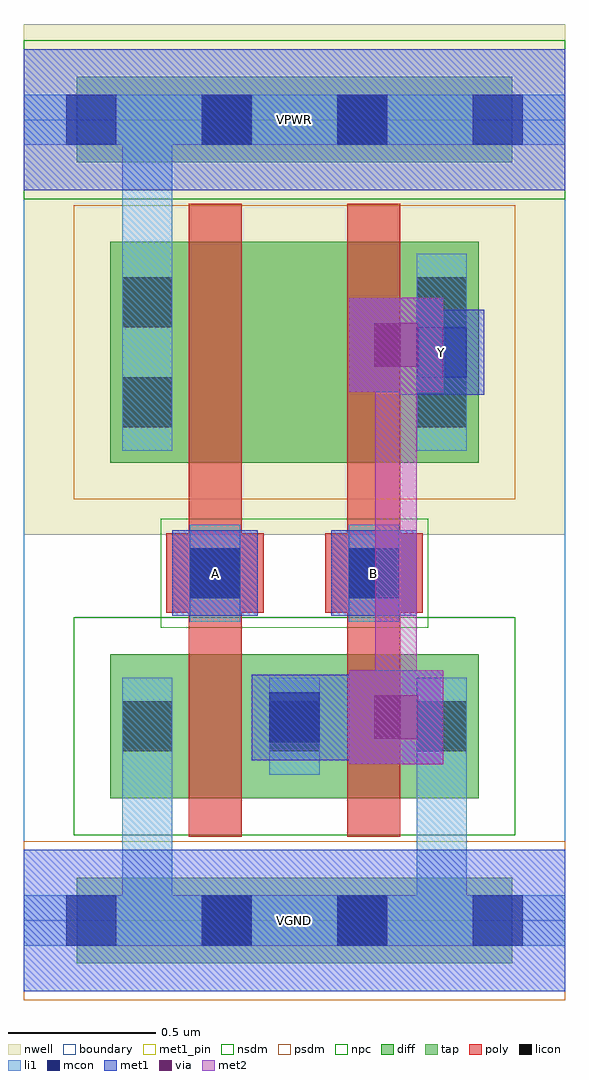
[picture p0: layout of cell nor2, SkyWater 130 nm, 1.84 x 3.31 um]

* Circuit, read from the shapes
.subckt nor2 A B VGND VPWR Y
XM1 Y A VGND VGND sky130_fd_pr__nfet_01v8 w=0.49 l=0.18
XM2 VGND B Y VGND sky130_fd_pr__nfet_01v8 w=0.49 l=0.18
XM3 n1 A VPWR VPWR sky130_fd_pr__pfet_01v8 w=0.75 l=0.18
XM4 Y B n1 VPWR sky130_fd_pr__pfet_01v8 w=0.75 l=0.18
.ends

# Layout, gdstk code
import gdstk
lib = gdstk.Library(unit=1e-6, precision=1e-09)
def R(c, l, rs):  # rectangles x0, y0, x1, y1
    for r in rs: c.add(gdstk.rectangle(r[:2], r[2:], *l))
def A(c, l, x, y, w, h, nx, ny, dx, dy):  # array of equal rectangles
    R(c, l, [(x+i*dx, y+j*dy, x+i*dx+w, y+j*dy+h) for i in range(nx) for j in range(ny)])
nwell = (64, 20)
diff = (65, 20)
tap = (65, 44)
poly = (66, 20)
licon = (66, 44)
li1 = (67, 20)
mcon = (67, 44)
met1_pin = (68, 16)
met1 = (68, 20)
via = (68, 44)
met2 = (69, 20)
nsdm = (93, 44)
psdm = (94, 20)
npc = (95, 20)
boundary = (235, 4)

nor2 = lib.new_cell('nor2')
R(nor2, nwell, [(0,1.31,1.84,3.045)])
R(nor2, diff, [(0.295,0.415,1.545,0.905), (0.295,1.555,1.545,2.305)])
R(nor2, tap, [(0.18,-0.145,1.66,0.145), (0.18,2.575,1.66,2.865)])
R(nor2, poly, [(0.56,0.285,0.74,2.435), (1.1,0.285,1.28,2.435), (0.485,1.045,0.815,1.315), (1.025,1.045,1.355,1.315)])
A(nor2, licon, 0.335, 0.575, 0.17, 0.17, 3, 1, 0.5, 0)
R(nor2, licon, [(0.605,-0.085,0.775,0.085), (1.065,-0.085,1.235,0.085), (0.565,1.095,0.735,1.265), (1.105,1.095,1.275,1.265), (0.335,1.675,0.505,1.845), (1.335,1.675,1.505,1.845), (0.335,2.015,0.505,2.185), (1.335,2.015,1.505,2.185), (0.605,2.635,0.775,2.805), (1.065,2.635,1.235,2.805)])
A(nor2, li1, 0.335, 0.495, 0.17, 0.33, 3, 1, 0.5, 0)
R(nor2, li1, [(0,-0.085,1.84,0.085), (0.335,-0.085,0.505,0.825), (1.335,-0.085,1.505,0.825), (0.565,1.015,0.735,1.345), (1.105,1.015,1.275,1.345), (0.335,1.595,0.505,2.265), (0.335,1.595,0.505,2.805), (1.335,1.595,1.505,2.265), (0,2.635,1.84,2.805)])
A(nor2, mcon, 0.145, -0.085, 0.17, 0.17, 4, 2, 0.46, 2.72)
R(nor2, mcon, [(0.835,0.605,1.005,0.775), (0.565,1.095,0.735,1.265), (1.105,1.095,1.275,1.265), (1.335,1.845,1.505,2.015)])
R(nor2, met1_pin, [(0,-0.24,1.84,0.24), (0.505,1.035,0.795,1.325), (1.045,1.035,1.335,1.325), (1.275,1.785,1.565,2.075), (0,2.48,1.84,2.96)])
R(nor2, met1, [(0,-0.24,1.84,0.24), (1.105,0.53,1.425,0.85), (0.775,0.545,1.065,0.835), (1.065,0.545,1.105,0.835), (0.85,0.62,1.335,0.76), (0.505,1.035,0.795,1.325), (1.045,1.035,1.335,1.325), (1.275,1.785,1.565,2.075), (1.105,1.795,1.425,2.115), (1.195,1.885,1.45,2.025), (1.31,1.885,1.45,2.025), (0,2.48,1.84,2.96)])
R(nor2, via, [(1.19,0.615,1.34,0.765), (1.19,1.88,1.34,2.03)])
R(nor2, met2, [(1.105,0.53,1.425,0.85), (1.195,0.62,1.335,2.025), (1.105,1.795,1.425,2.115)])
R(nor2, nsdm, [(0.17,0.29,1.67,1.03), (0,2.45,1.84,2.99)])
R(nor2, psdm, [(0,-0.27,1.84,0.27), (0.17,1.43,1.67,2.43)])
R(nor2, npc, [(0.465,0.995,1.375,1.365)])
R(nor2, boundary, [(0,0,1.84,2.72)])
nor2.add(gdstk.Label('A', (0.65,1.18), layer=68, texttype=5))
nor2.add(gdstk.Label('B', (1.19,1.18), layer=68, texttype=5))
nor2.add(gdstk.Label('Y', (1.42,1.93), layer=68, texttype=5))
nor2.add(gdstk.Label('VPWR', (0.92,2.72), layer=68, texttype=5))
nor2.add(gdstk.Label('VGND', (0.92,0), layer=68, texttype=5))
nor2.add(gdstk.Label('A', (0.65,1.18), layer=68, texttype=16))
nor2.add(gdstk.Label('B', (1.19,1.18), layer=68, texttype=16))
nor2.add(gdstk.Label('Y', (1.42,1.93), layer=68, texttype=16))
nor2.add(gdstk.Label('VPWR', (0.92,2.72), layer=68, texttype=16))
nor2.add(gdstk.Label('VGND', (0.92,0), layer=68, texttype=16))

lib.write_gds('nor2.gds')
